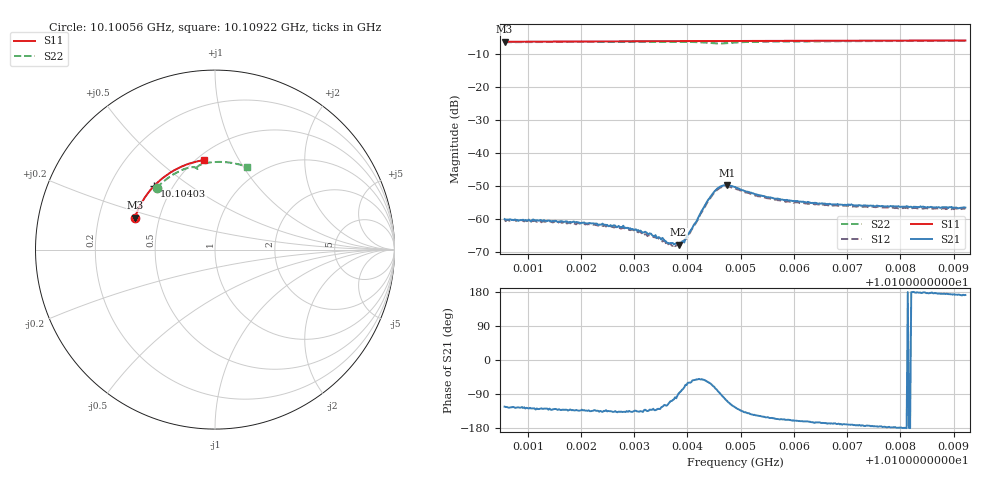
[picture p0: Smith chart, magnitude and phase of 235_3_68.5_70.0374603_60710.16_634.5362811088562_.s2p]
#  HZ  S  RI  R  50.00
! Rohde & Schwarz Vector Network Analyzer
! Rohde-Schwarz,ZNB20-2Port,1311601062101988,3.16
! Created: UTC 3/20/2024, 4:59:07 PM
! freq[Hz]  re:S11  im:S11  re:S21  im:S21  re:S12  im:S12  re:S22  im:S22
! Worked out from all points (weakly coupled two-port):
!   401 points, 10.10056 GHz to 10.10922 GHz, reference 50 ohm
!   highest |S21| = -49.74 dB at 10.10474 GHz (marker M1); lowest = -67.7 dB at 10.10383 GHz (marker M2)
!   lowest |S11| = -6.4 dB at 10.10056 GHz (marker M3), VSWR 2.85, Z = 18.1 + j8.41 ohm
!   |S11| at or under -10 dB: nowhere
!   |S22| runs from -6.9 to -6.1 dB; largest |S21 - S12| = 0.00033
!   S11 on the Smith chart (normalised r, x): 10.10056 GHz: 0.36, +0.17; 10.10403 GHz: 0.40, +0.37; 10.10922 GHz: 0.54, +0.72
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1.0100563e10  -0.446 0.1785  -0.000546 -0.000837  -0.000468 -0.000851  -0.3258 0.3431
1.0102014e10  -0.4102 0.2593  -0.00058 -0.000663  -0.000531 -0.000657  -0.2542 0.4041
1.0102836e10  -0.3834 0.3015  -0.000543 -0.000503  -0.000472 -0.000526  -0.208 0.4321
1.0102988e10  -0.3781 0.3089  -0.000494 -0.000486  -0.000463 -0.000493  -0.1988 0.4367
1.0103248e10  -0.3684 0.3214  -0.000424 -0.000426  -0.000318 -0.000451  -0.183 0.444
1.0103464e10  -0.3599 0.3315  -0.000336 -0.000413  -0.000269 -0.000423  -0.1688 0.4495
1.0103659e10  -0.3524 0.3406  -0.000162 -0.000394  -0.000136 -0.000407  -0.1559 0.454
1.0103746e10  -0.3488 0.3445  -9.76e-05 -0.000401  -6.02e-05 -0.000409  -0.1498 0.4558
1.0103832e10  -0.3455 0.3484  8.97e-06 -0.000411  3e-05 -0.000401  -0.1436 0.4573
1.0103919e10  -0.3417 0.3522  0.000112 -0.00045  0.000155 -0.000435  -0.1372 0.4585
1.0104027e10  -0.3373 0.357  0.000309 -0.00053  0.000338 -0.000481  -0.1287 0.4595
1.0104352e10  -0.3232 0.3708  0.000987 -0.00142  0.00106 -0.00129  -0.1032 0.4541
1.0104482e10  -0.3174 0.3763  0.000893 -0.0023  0.00107 -0.00213  -0.0979 0.4464
1.0104612e10  -0.3116 0.3814  8.48e-05 -0.00309  0.000384 -0.00295  -0.1006 0.4412
1.0104742e10  -0.3058 0.3865  -0.000983 -0.00311  -0.000711 -0.00304  -0.1051 0.4455
1.0104893e10  -0.2989 0.3925  -0.00173 -0.00251  -0.00146 -0.0025  -0.1026 0.4559
1.0105283e10  -0.2803 0.4072  -0.00196 -0.00132  -0.00174 -0.00142  -0.0781 0.4738
1.0105499e10  -0.2699 0.4149  -0.00186 -0.00104  -0.00172 -0.00114  -0.0631 0.4788
1.0105824e10  -0.2535 0.426  -0.00178 -0.000765  -0.00167 -0.00086  -0.0409 0.4837
1.0106344e10  -0.2265 0.4423  -0.00169 -0.000475  -0.00159 -0.000644  -0.00613 0.4877
1.0107794e10  -0.1467 0.478  -0.00154 -9.53e-05  -0.00145 -0.000237  0.088 0.4838
1.0109223e10  -0.0627 0.4985  -0.00148 0.000218  -0.00142 4.97e-05  0.1766 0.4622
